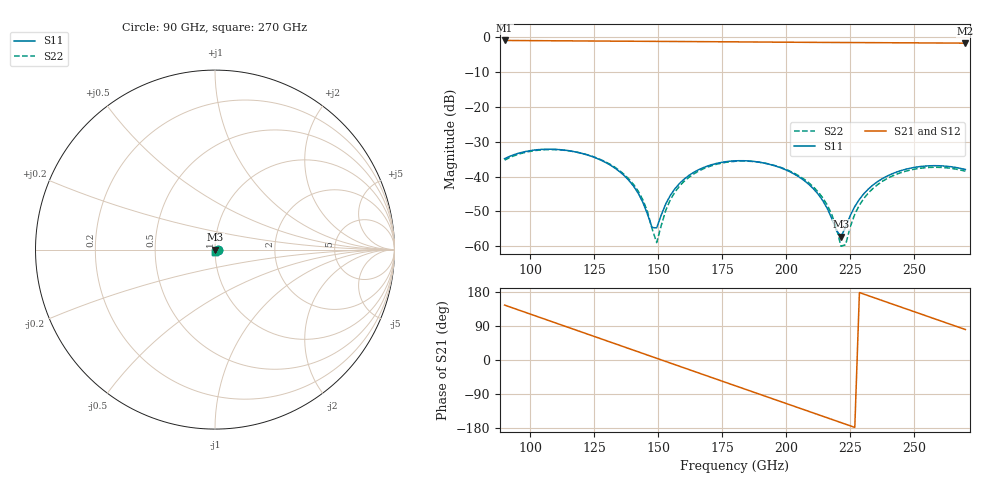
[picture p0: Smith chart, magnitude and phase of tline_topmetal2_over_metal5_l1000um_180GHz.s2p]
#  GHZ S DB R 50
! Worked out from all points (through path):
!   101 points, 90 GHz to 270 GHz, reference 50 ohm
!   highest |S21| = -0.91 dB at 90 GHz (marker M1); lowest = -1.7 dB at 270 GHz (marker M2)
!   group delay of S21, straight-line fit = 6.55 ps
!   lowest |S11| = -57.2 dB at 221.4 GHz (marker M3), VSWR 1.00, Z = 50.1 - j0.0877 ohm
!   |S11| at or under -10 dB: start of sweep to end of sweep
!   |S22| runs from -60.0 to -32.2 dB; largest |S21 - S12| = 1.4e-13
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90  -34.86 -6.6  -0.91 144.9  -0.91 144.9  -35.27 -5.8
106.2  -32.15 -40.7  -0.99 106.6  -0.99 106.6  -32.27 -40.8
120.6  -33.42 -71.3  -1.06 72.6  -1.06 72.6  -33.39 -72.3
131.4  -36.75 -93.2  -1.10 47.1  -1.10 47.1  -36.56 -95.4
140.4  -42.78 -107.0  -1.14 25.8  -1.14 25.8  -42.29 -112.2
144  -47.39 -105.6  -1.15 17.3  -1.15 17.3  -46.67 -115.0
147.6  -54.63 -72.5  -1.17 8.8  -1.17 8.8  -54.96 -98.7
149.4  -54.73 -27.4  -1.18 4.6  -1.18 4.6  -58.96 -44.5
151.2  -51.03 -2.1  -1.19 0.3  -1.19 0.3  -54.01 -0.1
154.8  -45.32 8.1  -1.20 -8.2  -1.20 -8.2  -46.57 11.7
160.2  -40.69 3.0  -1.23 -21.0  -1.23 -21.0  -41.32 5.2
180  -35.48 -37.8  -1.32 -67.7  -1.32 -67.7  -35.62 -37.7
194.4  -36.66 -69.5  -1.39 -101.6  -1.39 -101.6  -36.60 -70.4
210.6  -43.47 -99.6  -1.46 -139.7  -1.46 -139.7  -42.95 -103.8
217.8  -52.00 -94.5  -1.49 -156.7  -1.49 -156.7  -50.88 -109.5
221.4  -57.21 -39.4  -1.50 -165.2  -1.50 -165.2  -59.98 -75.7
223.2  -54.57 -7.0  -1.51 -169.4  -1.51 -169.4  -59.58 -15.0
226.8  -48.59 10.4  -1.52 -177.9  -1.52 -177.9  -50.79 14.8
230.4  -44.86 9.8  -1.53 173.7  -1.53 173.7  -46.20 13.7
241.2  -39.26 -8.9  -1.57 148.2  -1.57 148.2  -39.92 -6.6
255.6  -36.91 -42.1  -1.63 114.3  -1.63 114.3  -37.38 -40.7
270  -37.98 -79.2  -1.68 80.4  -1.68 80.4  -38.47 -78.0
